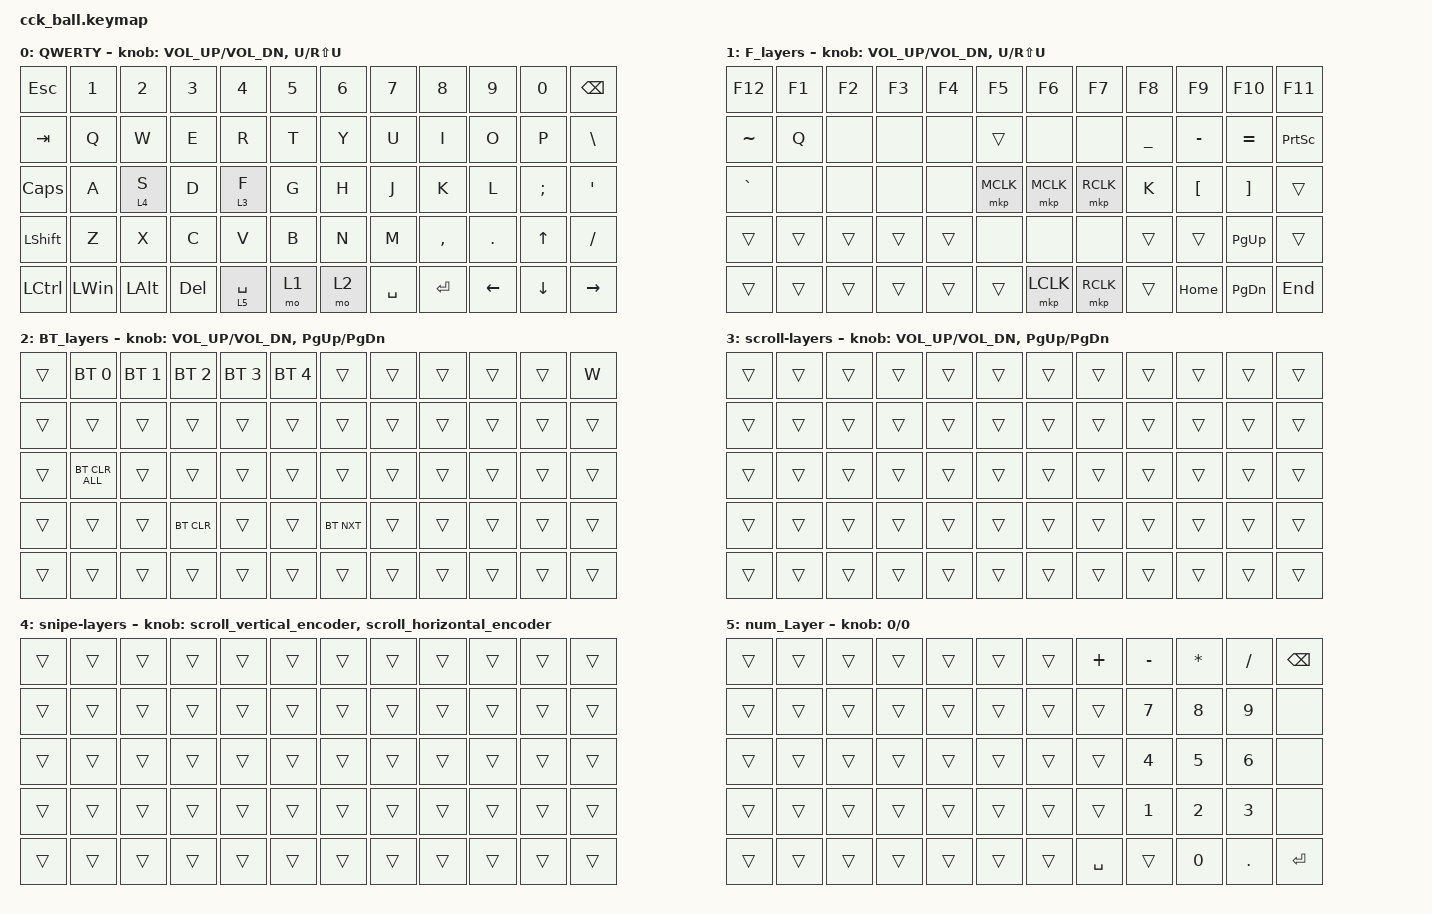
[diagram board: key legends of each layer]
#define ZMK_POINTING_DEFAULT_MOVE_VAL 1000 // 600
#define ZMK_POINTING_DEFAULT_SCRL_VAL 12   // 10

#include <input/processors.dtsi>
#include <zephyr/dt-bindings/input/input-event-codes.h>
#include <behaviors.dtsi>
#include <dt-bindings/zmk/bt.h>
#include <dt-bindings/zmk/keys.h>
#include <dt-bindings/zmk/pointing.h>

&mmv_input_listener { input-processors = <&zip_xy_scaler 2 1>; };

&msc_input_listener { input-processors = <&zip_scroll_scaler 2 1>; };

&msc {
    acceleration-exponent = <0>;      // 0
    time-to-max-speed-ms = <300>;       // 300
    delay-ms = <0>;                   // 0
};

&mmv {
    time-to-max-speed-ms = <500>;
    acceleration-exponent = <1>;
    trigger-period-ms = <16>;
};

&soft_off { hold-time-ms = <2000>; };

/ {
    // 上下滚动编码器行为

    scroll_vertical_encoder: scroll_vertical_encoder {
        compatible = "zmk,behavior-sensor-rotate";
        #sensor-binding-cells = <0>;
        bindings = <&msc SCRL_DOWN>, <&msc SCRL_UP>;

        tap-ms = <100>;
    };

    // 左右滚动编码器行为

    scroll_horizontal_encoder: scroll_horizontal_encoder {
        compatible = "zmk,behavior-sensor-rotate";
        #sensor-binding-cells = <0>;
        bindings = <&msc SCRL_LEFT>, <&msc SCRL_RIGHT>;

        tap-ms = <100>;
    };

    behaviors {
    };

    keymap {
        compatible = "zmk,keymap";

        QWERTY {
            bindings = <
&kp ESC           &kp N1        &kp N2        &kp N3      &kp N4       &kp N5  &kp N6  &kp N7     &kp N8     &kp N9          &kp N0          &kp BACKSPACE
&kp TAB           &kp Q         &kp W         &kp E       &kp R        &kp T   &kp Y   &kp U      &kp I      &kp O           &kp P           &kp BSLH
&kp CAPSLOCK      &kp A         &lt 4 S       &kp D       &lt 3 F      &kp G   &kp H   &kp J      &kp K      &kp L           &kp SEMI        &kp SQT
&kp LEFT_SHIFT    &kp Z         &kp X         &kp C       &kp V        &kp B   &kp N   &kp M      &kp COMMA  &kp DOT         &kp UP_ARROW    &kp FSLH
&kp LEFT_CONTROL  &kp LEFT_WIN  &kp LEFT_ALT  &kp DELETE  &lt 5 SPACE  &mo 1   &mo 2   &kp SPACE  &kp ENTER  &kp LEFT_ARROW  &kp DOWN_ARROW  &kp RIGHT_ARROW
            >;

            sensor-bindings =
                <&inc_dec_kp C_VOL_UP C_VOL_DN>,
                <&inc_dec_kp U RS(U)>;
        };

        F_layers {
            bindings = <
&kp F12    &kp F1  &kp F2  &kp F3  &kp F4  &kp F5     &kp F6     &kp F7     &kp F8          &kp F9            &kp F10            &kp F11
&kp TILDE  &kp Q   &none   &none   &none   &trans     &none      &none      &kp UNDERSCORE  &kp MINUS         &kp EQUAL          &kp PRINTSCREEN
&kp GRAVE  &none   &none   &none   &none   &mkp MCLK  &mkp MCLK  &mkp RCLK  &kp K           &kp LEFT_BRACKET  &kp RIGHT_BRACKET  &trans
&trans     &trans  &trans  &trans  &trans  &none      &none      &none      &trans          &trans            &kp PG_UP          &trans
&trans     &trans  &trans  &trans  &trans  &trans     &mkp LCLK  &mkp RCLK  &trans          &kp HOME          &kp PG_DN          &kp END
            >;

            sensor-bindings =
                <&inc_dec_kp C_VOL_UP C_VOL_DN>,
                <&inc_dec_kp U RS(U)>;
        };

        BT_layers {
            bindings = <
&trans  &bt BT_SEL 0    &bt BT_SEL 1  &bt BT_SEL 2  &bt BT_SEL 3  &bt BT_SEL 4  &trans      &trans  &trans  &trans  &trans  &kp W
&trans  &trans          &trans        &trans        &trans        &trans        &trans      &trans  &trans  &trans  &trans  &trans
&trans  &bt BT_CLR_ALL  &trans        &trans        &trans        &trans        &trans      &trans  &trans  &trans  &trans  &trans
&trans  &trans          &trans        &bt BT_CLR    &trans        &trans        &bt BT_NXT  &trans  &trans  &trans  &trans  &trans
&trans  &trans          &trans        &trans        &trans        &trans        &trans      &trans  &trans  &trans  &trans  &trans
            >;

            sensor-bindings = <&inc_dec_kp C_VOL_UP C_VOL_DN &inc_dec_kp PG_UP PG_DN>;
        };

        scroll-layers {
            bindings = <
&trans  &trans  &trans  &trans  &trans  &trans  &trans  &trans  &trans  &trans  &trans  &trans
&trans  &trans  &trans  &trans  &trans  &trans  &trans  &trans  &trans  &trans  &trans  &trans
&trans  &trans  &trans  &trans  &trans  &trans  &trans  &trans  &trans  &trans  &trans  &trans
&trans  &trans  &trans  &trans  &trans  &trans  &trans  &trans  &trans  &trans  &trans  &trans
&trans  &trans  &trans  &trans  &trans  &trans  &trans  &trans  &trans  &trans  &trans  &trans
            >;

            sensor-bindings = <&inc_dec_kp C_VOL_UP C_VOL_DN &inc_dec_kp PG_UP PG_DN>;
        };

        snipe-layers {
            bindings = <
&trans  &trans  &trans  &trans  &trans  &trans  &trans  &trans  &trans  &trans  &trans  &trans
&trans  &trans  &trans  &trans  &trans  &trans  &trans  &trans  &trans  &trans  &trans  &trans
&trans  &trans  &trans  &trans  &trans  &trans  &trans  &trans  &trans  &trans  &trans  &trans
&trans  &trans  &trans  &trans  &trans  &trans  &trans  &trans  &trans  &trans  &trans  &trans
&trans  &trans  &trans  &trans  &trans  &trans  &trans  &trans  &trans  &trans  &trans  &trans
            >;

            sensor-bindings =
                <&scroll_vertical_encoder>,
                // 编码器1：上下滚动,,,,,,,
                <&scroll_horizontal_encoder>;

            // 编码器2：左右滚动
        };

        num_Layer {
            bindings = <
&trans  &trans  &trans  &trans  &trans  &trans  &trans  &kp PLUS   &kp MINUS  &kp STAR  &kp SLASH   &kp BACKSPACE
&trans  &trans  &trans  &trans  &trans  &trans  &trans  &trans     &kp N7     &kp N8    &kp N9      &none
&trans  &trans  &trans  &trans  &trans  &trans  &trans  &trans     &kp N4     &kp N5    &kp N6      &none
&trans  &trans  &trans  &trans  &trans  &trans  &trans  &trans     &kp N1     &kp N2    &kp N3      &none
&trans  &trans  &trans  &trans  &trans  &trans  &trans  &kp SPACE  &trans     &kp N0    &kp PERIOD  &kp ENTER
            >;

            sensor-bindings = <&inc_dec_kp 0 0>;
        };
    };
};
